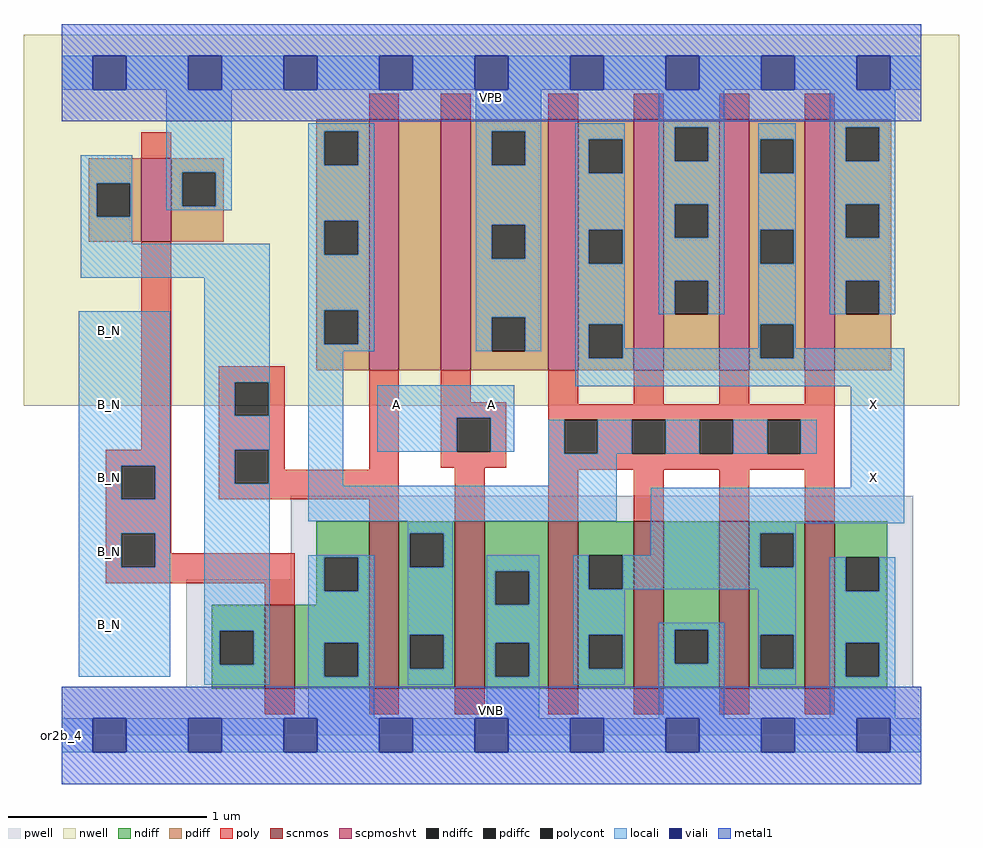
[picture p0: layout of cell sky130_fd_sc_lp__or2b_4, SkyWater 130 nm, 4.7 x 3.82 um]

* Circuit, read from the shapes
.subckt sky130_fd_sc_lp__or2b_4 A B_N VGND VNB VPB VPWR X
XM1 VGND B_N n1 VNB sky130_fd_pr__nfet_01v8 w=0.42 l=0.15
XM2 n2 n1 VGND VNB sky130_fd_pr__nfet_01v8 w=0.84 l=0.15
XM3 VGND A n2 VNB sky130_fd_pr__nfet_01v8 w=0.84 l=0.15
XM4 X n2 VGND VNB sky130_fd_pr__nfet_01v8 w=0.84 l=0.15 m=4
XM5 VPWR B_N n1 VPB sky130_fd_pr__pfet_01v8_hvt w=0.42 l=0.15
XM6 n3 n1 n2 VPB sky130_fd_pr__pfet_01v8_hvt w=1.26 l=0.15
XM7 VPWR A n3 VPB sky130_fd_pr__pfet_01v8_hvt w=1.26 l=0.15
XM8 X n2 VPWR VPB sky130_fd_pr__pfet_01v8_hvt w=1.26 l=0.15 m=4
.ends

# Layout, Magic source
magic
tech sky130A
magscale 1 2
<< nwell >>
rect -38 331 902 704
<< pwell >>
rect 230 157 856 241
rect 125 49 856 157
rect 0 0 864 49
<< scnmos >>
rect 204 47 234 131
rect 309 47 339 215
rect 395 47 425 215
rect 489 47 519 215
rect 575 47 605 215
rect 661 47 691 215
rect 747 47 777 215
<< scpmoshvt >>
rect 80 496 110 580
rect 309 367 339 619
rect 381 367 411 619
rect 489 367 519 619
rect 575 367 605 619
rect 661 367 691 619
rect 747 367 777 619
<< ndiff >>
rect 256 179 309 215
rect 256 145 264 179
rect 298 145 309 179
rect 256 131 309 145
rect 151 105 204 131
rect 151 71 159 105
rect 193 71 204 105
rect 151 47 204 71
rect 234 93 309 131
rect 234 59 264 93
rect 298 59 309 93
rect 234 47 309 59
rect 339 203 395 215
rect 339 169 350 203
rect 384 169 395 203
rect 339 101 395 169
rect 339 67 350 101
rect 384 67 395 101
rect 339 47 395 67
rect 425 165 489 215
rect 425 131 436 165
rect 470 131 489 165
rect 425 93 489 131
rect 425 59 436 93
rect 470 59 489 93
rect 425 47 489 59
rect 519 181 575 215
rect 519 147 530 181
rect 564 147 575 181
rect 519 101 575 147
rect 519 67 530 101
rect 564 67 575 101
rect 519 47 575 67
rect 605 106 661 215
rect 605 72 616 106
rect 650 72 661 106
rect 605 47 661 72
rect 691 203 747 215
rect 691 169 702 203
rect 736 169 747 203
rect 691 101 747 169
rect 691 67 702 101
rect 736 67 747 101
rect 691 47 747 67
rect 777 179 830 215
rect 777 145 788 179
rect 822 145 830 179
rect 777 93 830 145
rect 777 59 788 93
rect 822 59 830 93
rect 777 47 830 59
<< pdiff >>
rect 256 607 309 619
rect 27 555 80 580
rect 27 521 35 555
rect 69 521 80 555
rect 27 496 80 521
rect 110 566 163 580
rect 110 532 121 566
rect 155 532 163 566
rect 110 496 163 532
rect 256 573 264 607
rect 298 573 309 607
rect 256 517 309 573
rect 256 483 264 517
rect 298 483 309 517
rect 256 427 309 483
rect 256 393 264 427
rect 298 393 309 427
rect 256 367 309 393
rect 339 367 381 619
rect 411 607 489 619
rect 411 573 432 607
rect 466 573 489 607
rect 411 513 489 573
rect 411 479 432 513
rect 466 479 489 513
rect 411 420 489 479
rect 411 386 432 420
rect 466 386 489 420
rect 411 367 489 386
rect 519 599 575 619
rect 519 565 530 599
rect 564 565 575 599
rect 519 508 575 565
rect 519 474 530 508
rect 564 474 575 508
rect 519 413 575 474
rect 519 379 530 413
rect 564 379 575 413
rect 519 367 575 379
rect 605 611 661 619
rect 605 577 616 611
rect 650 577 661 611
rect 605 534 661 577
rect 605 500 616 534
rect 650 500 661 534
rect 605 457 661 500
rect 605 423 616 457
rect 650 423 661 457
rect 605 367 661 423
rect 691 599 747 619
rect 691 565 702 599
rect 736 565 747 599
rect 691 508 747 565
rect 691 474 702 508
rect 736 474 747 508
rect 691 413 747 474
rect 691 379 702 413
rect 736 379 747 413
rect 691 367 747 379
rect 777 611 834 619
rect 777 577 788 611
rect 822 577 834 611
rect 777 534 834 577
rect 777 500 788 534
rect 822 500 834 534
rect 777 457 834 500
rect 777 423 788 457
rect 822 423 834 457
rect 777 367 834 423
<< ndiffc >>
rect 264 145 298 179
rect 159 71 193 105
rect 264 59 298 93
rect 350 169 384 203
rect 350 67 384 101
rect 436 131 470 165
rect 436 59 470 93
rect 530 147 564 181
rect 530 67 564 101
rect 616 72 650 106
rect 702 169 736 203
rect 702 67 736 101
rect 788 145 822 179
rect 788 59 822 93
<< pdiffc >>
rect 35 521 69 555
rect 121 532 155 566
rect 264 573 298 607
rect 264 483 298 517
rect 264 393 298 427
rect 432 573 466 607
rect 432 479 466 513
rect 432 386 466 420
rect 530 565 564 599
rect 530 474 564 508
rect 530 379 564 413
rect 616 577 650 611
rect 616 500 650 534
rect 616 423 650 457
rect 702 565 736 599
rect 702 474 736 508
rect 702 379 736 413
rect 788 577 822 611
rect 788 500 822 534
rect 788 423 822 457
<< poly >>
rect 309 619 339 645
rect 381 619 411 645
rect 489 619 519 645
rect 575 619 605 645
rect 661 619 691 645
rect 747 619 777 645
rect 80 580 110 606
rect 80 287 110 496
rect 44 271 110 287
rect 44 237 60 271
rect 94 237 110 271
rect 158 355 224 371
rect 158 321 174 355
rect 208 321 224 355
rect 158 287 224 321
rect 158 253 174 287
rect 208 267 224 287
rect 309 267 339 367
rect 381 335 411 367
rect 381 319 447 335
rect 381 285 397 319
rect 431 285 447 319
rect 381 269 447 285
rect 489 333 519 367
rect 575 333 605 367
rect 661 333 691 367
rect 747 333 777 367
rect 489 317 777 333
rect 489 283 505 317
rect 539 283 573 317
rect 607 283 641 317
rect 675 283 709 317
rect 743 283 777 317
rect 208 253 339 267
rect 158 237 339 253
rect 44 203 110 237
rect 309 215 339 237
rect 395 215 425 269
rect 489 267 777 283
rect 489 215 519 267
rect 575 215 605 267
rect 661 215 691 267
rect 747 215 777 267
rect 44 169 60 203
rect 94 183 110 203
rect 94 169 234 183
rect 44 153 234 169
rect 204 131 234 153
rect 204 21 234 47
rect 309 21 339 47
rect 395 21 425 47
rect 489 21 519 47
rect 575 21 605 47
rect 661 21 691 47
rect 747 21 777 47
<< polycont >>
rect 60 237 94 271
rect 174 321 208 355
rect 174 253 208 287
rect 397 285 431 319
rect 505 283 539 317
rect 573 283 607 317
rect 641 283 675 317
rect 709 283 743 317
rect 60 169 94 203
<< locali >>
rect 0 649 31 683
rect 65 649 127 683
rect 161 649 223 683
rect 257 649 319 683
rect 353 649 415 683
rect 449 649 511 683
rect 545 649 607 683
rect 641 649 703 683
rect 737 649 799 683
rect 833 649 864 683
rect 19 555 71 583
rect 19 521 35 555
rect 69 521 71 555
rect 105 566 171 649
rect 105 532 121 566
rect 155 532 171 566
rect 105 528 171 532
rect 248 607 314 615
rect 248 573 264 607
rect 298 573 314 607
rect 19 494 71 521
rect 248 517 314 573
rect 19 460 209 494
rect 17 271 109 426
rect 17 237 60 271
rect 94 237 109 271
rect 17 203 109 237
rect 17 169 60 203
rect 94 169 109 203
rect 17 59 109 169
rect 143 355 209 460
rect 143 321 174 355
rect 208 321 209 355
rect 143 287 209 321
rect 143 253 174 287
rect 208 253 209 287
rect 143 105 209 253
rect 248 483 264 517
rect 298 483 314 517
rect 248 427 314 483
rect 248 393 264 427
rect 298 393 314 427
rect 248 386 314 393
rect 416 607 482 649
rect 416 573 432 607
rect 466 573 482 607
rect 416 513 482 573
rect 416 479 432 513
rect 466 479 482 513
rect 416 420 482 479
rect 416 386 432 420
rect 466 386 482 420
rect 516 599 566 615
rect 516 565 530 599
rect 564 565 566 599
rect 516 508 566 565
rect 516 474 530 508
rect 564 474 566 508
rect 516 413 566 474
rect 600 611 666 649
rect 600 577 616 611
rect 650 577 666 611
rect 600 534 666 577
rect 600 500 616 534
rect 650 500 666 534
rect 600 457 666 500
rect 600 423 616 457
rect 650 423 666 457
rect 700 599 738 615
rect 700 565 702 599
rect 736 565 738 599
rect 700 508 738 565
rect 700 474 702 508
rect 736 474 738 508
rect 248 251 283 386
rect 516 379 530 413
rect 564 389 566 413
rect 700 413 738 474
rect 772 611 838 649
rect 772 577 788 611
rect 822 577 838 611
rect 772 534 838 577
rect 772 500 788 534
rect 822 500 838 534
rect 772 457 838 500
rect 772 423 788 457
rect 822 423 838 457
rect 700 389 702 413
rect 564 379 702 389
rect 736 389 738 413
rect 736 379 847 389
rect 317 319 455 352
rect 516 351 847 379
rect 317 285 397 319
rect 431 285 455 319
rect 489 283 505 317
rect 539 283 573 317
rect 607 283 641 317
rect 675 283 709 317
rect 743 283 759 317
rect 489 251 558 283
rect 248 215 558 251
rect 793 249 847 351
rect 348 203 393 215
rect 143 71 159 105
rect 193 71 209 105
rect 143 51 209 71
rect 248 179 314 181
rect 248 145 264 179
rect 298 145 314 179
rect 248 93 314 145
rect 248 59 264 93
rect 298 59 314 93
rect 248 17 314 59
rect 348 169 350 203
rect 384 169 393 203
rect 592 213 847 249
rect 592 203 738 213
rect 592 181 702 203
rect 348 101 393 169
rect 348 67 350 101
rect 384 67 393 101
rect 348 51 393 67
rect 427 165 480 181
rect 427 131 436 165
rect 470 131 480 165
rect 427 93 480 131
rect 427 59 436 93
rect 470 59 480 93
rect 427 17 480 59
rect 514 147 530 181
rect 564 169 702 181
rect 736 169 738 203
rect 564 147 738 169
rect 514 101 566 147
rect 514 67 530 101
rect 564 67 566 101
rect 514 51 566 67
rect 600 106 666 113
rect 600 72 616 106
rect 650 72 666 106
rect 600 17 666 72
rect 700 101 738 147
rect 700 67 702 101
rect 736 67 738 101
rect 700 51 738 67
rect 772 145 788 179
rect 822 145 838 179
rect 772 93 838 145
rect 772 59 788 93
rect 822 59 838 93
rect 772 17 838 59
rect 0 -17 31 17
rect 65 -17 127 17
rect 161 -17 223 17
rect 257 -17 319 17
rect 353 -17 415 17
rect 449 -17 511 17
rect 545 -17 607 17
rect 641 -17 703 17
rect 737 -17 799 17
rect 833 -17 864 17
<< viali >>
rect 31 649 65 683
rect 127 649 161 683
rect 223 649 257 683
rect 319 649 353 683
rect 415 649 449 683
rect 511 649 545 683
rect 607 649 641 683
rect 703 649 737 683
rect 799 649 833 683
rect 31 -17 65 17
rect 127 -17 161 17
rect 223 -17 257 17
rect 319 -17 353 17
rect 415 -17 449 17
rect 511 -17 545 17
rect 607 -17 641 17
rect 703 -17 737 17
rect 799 -17 833 17
<< metal1 >>
rect 0 683 864 715
rect 0 649 31 683
rect 65 649 127 683
rect 161 649 223 683
rect 257 649 319 683
rect 353 649 415 683
rect 449 649 511 683
rect 545 649 607 683
rect 641 649 703 683
rect 737 649 799 683
rect 833 649 864 683
rect 0 617 864 649
rect 0 17 864 49
rect 0 -17 31 17
rect 65 -17 127 17
rect 161 -17 223 17
rect 257 -17 319 17
rect 353 -17 415 17
rect 449 -17 511 17
rect 545 -17 607 17
rect 641 -17 703 17
rect 737 -17 799 17
rect 833 -17 864 17
rect 0 -49 864 -17
<< labels >>
flabel pwell s 0 0 864 49 0 FreeSans 200 0 0 0 VNB
port 4 nsew ground bidirectional
flabel nwell s 0 617 864 666 0 FreeSans 200 0 0 0 VPB
port 5 nsew power bidirectional
rlabel comment s 0 0 0 0 4 or2b_4
flabel metal1 s 0 617 864 666 0 FreeSans 340 0 0 0 VPWR
port 6 nsew power bidirectional
flabel metal1 s 0 0 864 49 0 FreeSans 340 0 0 0 VGND
port 3 nsew ground bidirectional
flabel locali s 319 316 353 350 0 FreeSans 340 0 0 0 A
port 1 nsew signal input
flabel locali s 415 316 449 350 0 FreeSans 340 0 0 0 A
port 1 nsew signal input
flabel locali s 31 94 65 128 0 FreeSans 340 0 0 0 B_N
port 2 nsew signal input
flabel locali s 31 168 65 202 0 FreeSans 340 0 0 0 B_N
port 2 nsew signal input
flabel locali s 31 242 65 276 0 FreeSans 340 0 0 0 B_N
port 2 nsew signal input
flabel locali s 31 316 65 350 0 FreeSans 340 0 0 0 B_N
port 2 nsew signal input
flabel locali s 31 390 65 424 0 FreeSans 340 0 0 0 B_N
port 2 nsew signal input
flabel locali s 799 242 833 276 0 FreeSans 340 0 0 0 X
port 7 nsew signal output
flabel locali s 799 316 833 350 0 FreeSans 340 0 0 0 X
port 7 nsew signal output
<< properties >>
string LEFsite unit
string LEFclass CORE
string FIXED_BBOX 0 0 864 666
string GDS_FILE $PDKPATH/libs.ref/sky130_fd_sc_lp/gds/sky130_fd_sc_lp.gds
string LEFsymmetry X Y R90
string GDS_END 2259634
string GDS_START 2251486
<< end >>
